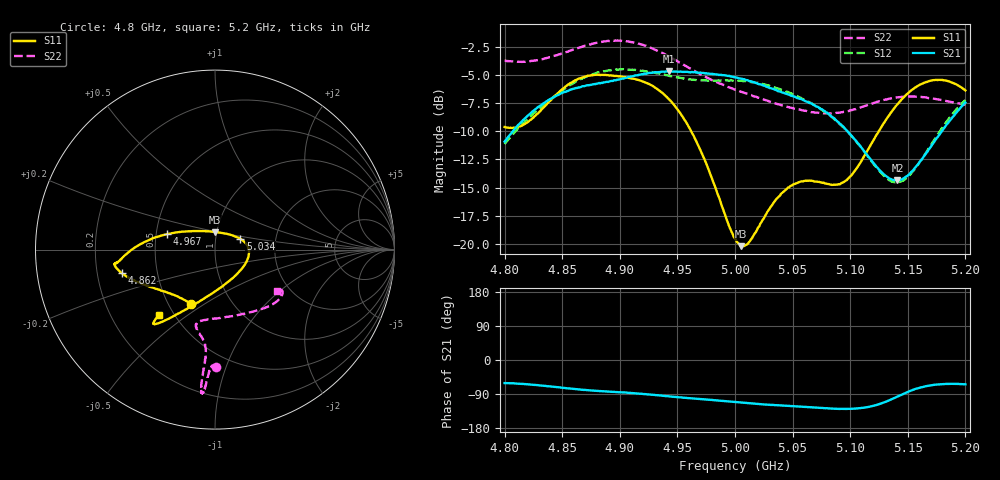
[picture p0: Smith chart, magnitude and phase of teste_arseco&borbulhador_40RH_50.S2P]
! Network Analyzer HP8722D
! Hewlett-Packard
! Data name: Linha & Wilkinson
! Saver's name: Rodrigo Anjos
! Comments: Teste da utilização de aquisição
! continua pelo VNA HP8722D
! Time and date: 15/4/2025 16:46
!  Frequency  S11  S21  S12  S22
# HZ  S  MA R 50
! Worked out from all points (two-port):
!   401 points, 4.8 GHz to 5.2 GHz, reference 50 ohm
!   highest |S21| = -4.65 dB at 4.943 GHz (marker M1); lowest = -14.4 dB at 5.141 GHz (marker M2)
!   |S21| within 3 dB of the highest: 4.832 GHz to 5.069 GHz (236.7 MHz wide, 4.78 % of centre); 5.198021 GHz to end of sweep
!   lowest |S11| = -20.2 dB at 5.005 GHz (marker M3), VSWR 1.22, Z = 49.2 + j9.68 ohm
!   |S11| at or under -10 dB: 4.962 GHz to 5.125 GHz (162.7 MHz wide, 3.23 % of centre)
!   |S22| runs from -8.4 to -1.9 dB; largest |S21 - S12| = 0.88
!   S11 on the Smith chart (normalised r, x): 4.8 GHz: 0.65, -0.44; 4.862 GHz: 0.31, -0.11; 4.967 GHz: 0.57, +0.11; 5.034 GHz: 1.32, +0.16; 5.2 GHz: 0.41, -0.39
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4.8e9  0.331 -114.0  0.2846 -60.9  0.2778 -175.1  0.6545 -89.6
4.819e9  0.3456 -133.8  0.3668 -63.9  0.3546 -173.4  0.6493 -91.3
4.862e9  0.5363 -165.9  0.494 -76.9  0.5274 -176.7  0.7397 -93.7
4.867e9  0.5495 -167.8  0.5017 -78.5  0.5427 -177.6  0.753 -93.8
4.899e9  0.5566 -172.3  0.5378 -85.1  0.5963 175.7  0.8024 -95.3
4.934e9  0.4829 -178.2  0.5812 -93.5  0.5734 171.9  0.7192 -95.7
4.943e9  0.4388 177.7  0.5857 -96.1  0.5593 171.6  0.6812 -95.5
4.967e9  0.2819 162.3  0.5783 -102.3  0.5353 173.9  0.579 -95.1
5e9  0.1055 105.9  0.5515 -111.1  0.5329 176.3  0.4858 -99.4
5.005e9  0.09741 89.0  0.5436 -112.4  0.5319 176.3  0.4747 -100.6
5.013e9  0.1026 62.8  0.5298 -114.4  0.5257 176.0  0.4606 -102.5
5.034e9  0.1533 23.0  0.4879 -119.0  0.4977 175.1  0.4231 -103.9
5.05e9  0.1826 6.2  0.4551 -121.7  0.4633 174.3  0.4016 -100.4
5.067e9  0.1906 -12.2  0.4193 -125.0  0.4207 173.8  0.385 -91.8
5.086e9  0.1829 -42.7  0.3625 -128.5  0.359 173.5  0.3815 -77.5
5.097e9  0.1917 -65.7  0.3194 -129.1  0.318 174.4  0.3887 -68.3
5.134e9  0.3744 -116.5  0.1951 -106.2  0.1914 -159.1  0.4428 -43.4
5.141e9  0.4173 -120.3  0.1914 -96.4  0.1875 -148.1  0.4486 -40.3
5.152e9  0.4768 -124.8  0.2057 -81.7  0.2029 -131.0  0.4525 -36.3
5.17e9  0.5325 -128.8  0.2703 -66.9  0.2753 -112.9  0.4446 -32.2
5.184e9  0.5315 -130.2  0.3411 -63.2  0.3516 -107.4  0.4319 -31.2
5.2e9  0.4817 -130.6  0.4255 -64.2  0.4368 -106.2  0.4152 -33.5
